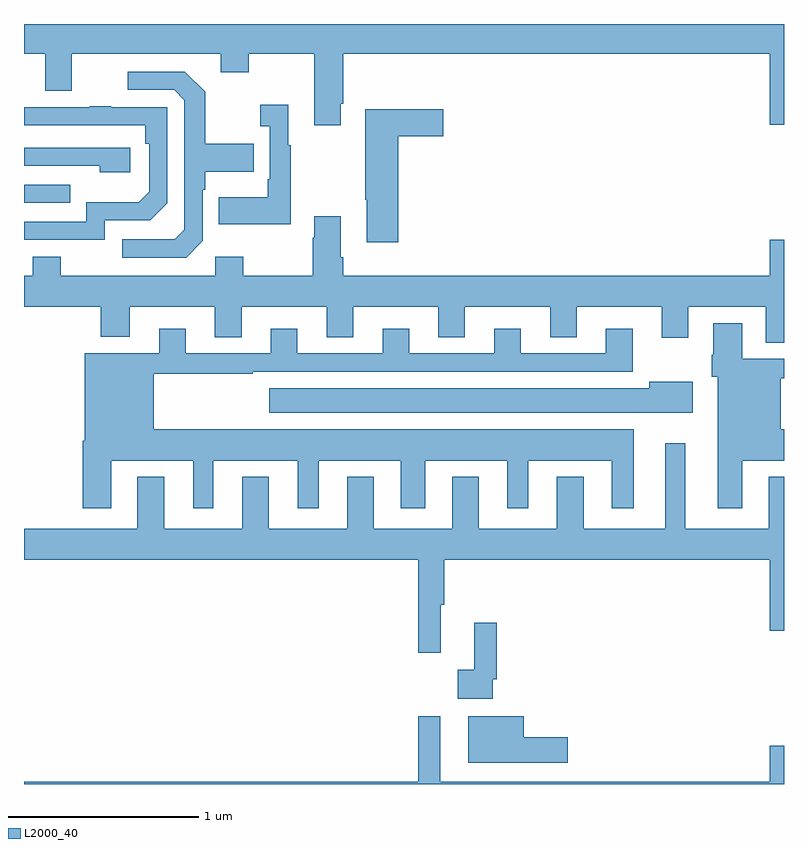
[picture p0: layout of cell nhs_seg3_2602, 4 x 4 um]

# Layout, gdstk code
import gdstk
lib = gdstk.Library(unit=1e-6, precision=1e-09)
def R(c, l, rs):  # rectangles x0, y0, x1, y1
    for r in rs: c.add(gdstk.rectangle(r[:2], r[2:], *l))
def P(c, l, *ps):  # polygons
    for p in ps: c.add(gdstk.Polygon(p, *l))
L2000_40 = (2000, 40)

nhs_seg3_2602 = lib.new_cell('nhs_seg3_2602')
R(nhs_seg3_2602, L2000_40, [(245,705.459,245.243,705.555)])
P(nhs_seg3_2602, L2000_40, [(246.667,705.979),(246.68,705.979),(246.68,706.244),(248.924,706.244),(248.924,705.87),(249,705.87),(249,706.4),(245,706.4),(245,706.244),(245.111,706.244),(245.111,706.05),(245.251,706.05),(245.251,706.244),(246.035,706.244),(246.035,706.145),(246.183,706.145),(246.183,706.244),(246.527,706.244),(246.527,705.867),(246.667,705.867)],
  [(245.94,705.258),(245.94,705.527),(245.953,705.527),(245.953,705.623),(246.209,705.623),(246.209,705.771),(245.953,705.771),(245.953,706.043),(245.847,706.149),(245.547,706.149),(245.547,706.053),(245.79,706.053),(245.844,705.999),(245.844,705.318),(245.793,705.267),(245.517,705.267),(245.517,705.171),(245.853,705.171)],
  [(246.403,705.763),(246.391,705.763),(246.391,705.976),(246.243,705.976),(246.243,705.863),(246.294,705.863),(246.294,705.583),(246.282,705.583),(246.282,705.487),(246.025,705.487),(246.025,705.347),(246.403,705.347)],
  [(245.424,705.366),(245.664,705.366),(245.754,705.456),(245.754,705.963),(245.459,705.963),(245.459,705.968),(245.347,705.968),(245.347,705.963),(245,705.963),(245,705.867),(245.638,705.867),(245.638,705.77),(245.658,705.77),(245.658,705.516),(245.605,705.463),(245.328,705.463),(245.328,705.36),(245,705.36),(245,705.264),(245.424,705.264)],
  [(246.971,705.809),(247.207,705.809),(247.207,705.951),(246.796,705.951),(246.796,705.475),(246.803,705.475),(246.803,705.252),(246.971,705.252)],
  [(245.56,705.75),(245,705.75),(245,705.654),(245.399,705.654),(245.399,705.62),(245.56,705.62)],
  [(249,705.265),(248.924,705.265),(248.924,705.076),(246.68,705.076),(246.68,705.172),(246.667,705.172),(246.667,705.388),(246.527,705.388),(246.527,705.275),(246.52,705.275),(246.52,705.076),(246.153,705.076),(246.153,705.175),(246.006,705.175),(246.006,705.076),(245.193,705.076),(245.193,705.175),(245.045,705.175),(245.045,705.076),(245,705.076),(245,704.912),(245.405,704.912),(245.405,704.753),(245.557,704.753),(245.557,704.912),(246.005,704.912),(246.005,704.752),(246.145,704.752),(246.145,704.912),(246.593,704.912),(246.593,704.752),(246.733,704.752),(246.733,704.912),(247.181,704.912),(247.181,704.752),(247.321,704.752),(247.321,704.912),(247.769,704.912),(247.769,704.752),(247.909,704.752),(247.909,704.912),(248.357,704.912),(248.357,704.748),(248.497,704.748),(248.497,704.912),(248.903,704.912),(248.903,704.722),(249,704.722)],
  [(248.779,704.102),(249,704.102),(249,704.266),(248.983,704.266),(248.983,704.536),(249,704.536),(249,704.637),(248.779,704.637),(248.779,704.824),(248.627,704.824),(248.627,704.66),(248.62,704.66),(248.62,704.544),(248.651,704.544),(248.651,703.851),(248.779,703.851)],
  [(245.458,704.102),(245.891,704.102),(245.891,703.851),(245.995,703.851),(245.995,704.102),(246.44,704.102),(246.44,703.851),(246.55,703.851),(246.55,704.102),(246.983,704.102),(246.983,703.851),(247.111,703.851),(247.111,704.102),(247.544,704.102),(247.544,703.851),(247.654,703.851),(247.654,704.102),(248.093,704.102),(248.093,703.851),(248.209,703.851),(248.209,704.266),(245.683,704.266),(245.683,704.559),(246.203,704.559),(246.203,704.571),(248.203,704.571),(248.203,704.797),(248.063,704.797),(248.063,704.667),(247.615,704.667),(247.615,704.797),(247.475,704.797),(247.475,704.667),(247.027,704.667),(247.027,704.797),(246.887,704.797),(246.887,704.667),(246.439,704.667),(246.439,704.797),(246.299,704.797),(246.299,704.667),(245.851,704.667),(245.851,704.797),(245.711,704.797),(245.711,704.668),(245.321,704.668),(245.321,704.206),(245.309,704.206),(245.309,703.851),(245.458,703.851)],
  [(248.521,704.518),(248.291,704.518),(248.291,704.482),(246.291,704.482),(246.291,704.354),(248.521,704.354)],
  [(247.193,703.344),(247.211,703.344),(247.211,703.58),(248.924,703.58),(248.924,703.206),(249,703.206),(249,704.017),(248.921,704.017),(248.921,703.744),(248.479,703.744),(248.479,704.194),(248.375,704.194),(248.375,703.744),(247.945,703.744),(247.945,704.017),(247.805,704.017),(247.805,703.744),(247.393,703.744),(247.393,704.017),(247.253,704.017),(247.253,703.744),(246.841,703.744),(246.841,704.017),(246.701,704.017),(246.701,703.744),(246.289,703.744),(246.289,704.017),(246.149,704.017),(246.149,703.744),(245.737,703.744),(245.737,704.017),(245.597,704.017),(245.597,703.744),(245,703.744),(245,703.58),(247.075,703.58),(247.075,703.092),(247.193,703.092)],
  [(247.467,702.952),(247.487,702.952),(247.487,703.249),(247.37,703.249),(247.37,703.001),(247.284,703.001),(247.284,702.848),(247.467,702.848)],
  [(247.861,702.647),(247.63,702.647),(247.63,702.757),(247.337,702.757),(247.337,702.512),(247.861,702.512)],
  [(249,702.601),(248.924,702.601),(248.924,702.412),(247.192,702.412),(247.192,702.757),(247.075,702.757),(247.075,702.412),(245,702.412),(245,702.4),(249,702.4)])

lib.write_gds('nhs_seg3_2602.gds')
